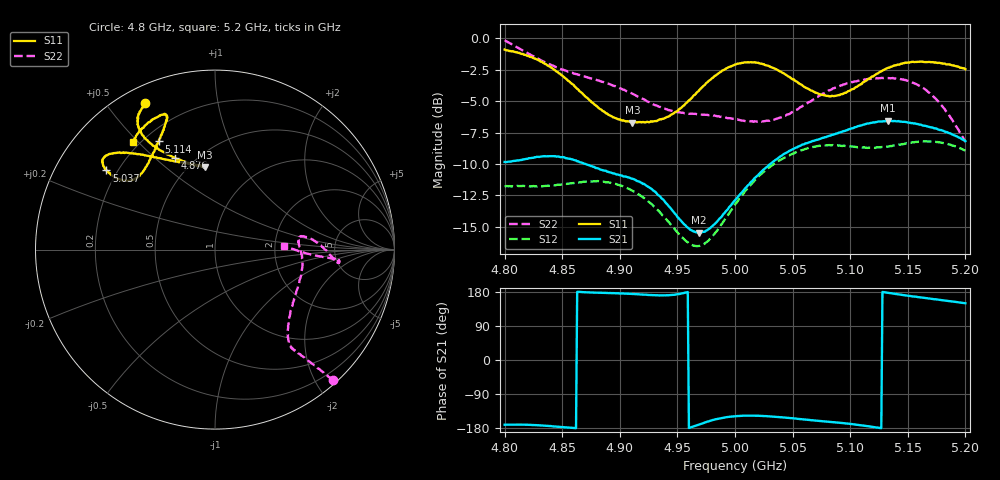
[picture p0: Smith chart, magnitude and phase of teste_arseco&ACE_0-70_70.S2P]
! Network Analyzer HP8722D
! Hewlett-Packard
! Data name: Linha & Wilkinson
! Saver's name: Rodrigo Anjos
! Comments: Teste da utilização de aquisição
! continua pelo VNA HP8722D
! Time and date: 8/5/2025 13:20
!  Frequency  S11  S21  S12  S22
# HZ  S  MA R 50
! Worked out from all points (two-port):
!   401 points, 4.8 GHz to 5.2 GHz, reference 50 ohm
!   highest |S21| = -6.55 dB at 5.133 GHz (marker M1); lowest = -15.5 dB at 4.969 GHz (marker M2)
!   |S21| within 3 dB of the highest: 4.821 GHz to 4.855 GHz (33.95 MHz wide, 0.702 % of centre); 5.037 GHz to end of sweep
!   lowest |S11| = -6.7 dB at 4.911 GHz (marker M3), VSWR 2.72, Z = 29.7 + j34.7 ohm
!   |S11| at or under -10 dB: nowhere
!   |S22| runs from -8.3 to -0.2 dB; largest |S21 - S12| = 0.83
!   S11 on the Smith chart (normalised r, x): 4.8 GHz: 0.07, +0.63; 4.876 GHz: 0.40, +0.58; 5.037 GHz: 0.16, +0.32; 5.114 GHz: 0.26, +0.58; 5.2 GHz: 0.17, +0.49
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4.8e9  0.9032 115.5  0.3221 -170.8  0.2579 -86.3  0.9815 -47.8
4.834e9  0.7975 122.1  0.3394 -173.2  0.2583 -77.3  0.8077 -50.0
4.85e9  0.7106 121.8  0.3367 -177.2  0.2622 -72.0  0.7515 -50.8
4.867e9  0.6072 117.5  0.3201 179.2  0.2678 -67.9  0.7105 -51.8
4.876e9  0.5549 113.5  0.3097 178.0  0.2691 -66.9  0.6917 -52.2
4.894e9  0.4855 103.8  0.2902 176.5  0.2651 -67.0  0.6488 -51.0
4.911e9  0.4621 96.8  0.2762 174.4  0.2475 -68.4  0.6019 -47.5
4.934e9  0.4741 99.6  0.2367 170.4  0.2056 -69.9  0.5344 -37.0
4.958e9  0.554 116.4  0.1778 178.7  0.1553 -58.9  0.5033 -21.2
4.969e9  0.6228 123.9  0.1684 -170.2  0.1492 -46.6  0.4994 -14.7
4.981e9  0.6985 130.1  0.18 -158.3  0.1641 -33.3  0.4927 -8.6
5e9  0.7865 137.1  0.2269 -148.5  0.2183 -21.6  0.4755 -0.2
5.018e9  0.8012 141.4  0.2802 -147.0  0.2747 -18.8  0.4674 5.8
5.037e9  0.7482 143.9  0.3325 -150.2  0.3234 -19.0  0.4805 8.8
5.067e9  0.6189 141.8  0.3901 -158.9  0.3695 -21.4  0.567 4.1
5.088e9  0.5916 132.7  0.4183 -164.8  0.3752 -24.6  0.639 -2.4
5.114e9  0.679 117.4  0.4568 -174.2  0.3669 -27.3  0.6867 -6.0
5.133e9  0.7642 110.9  0.4702 177.2  0.3713 -29.3  0.6951 -5.5
5.134e9  0.7647 110.6  0.4687 176.8  0.3717 -29.6  0.6953 -5.4
5.161e9  0.8084 111.9  0.4539 165.2  0.3885 -36.0  0.6448 -4.2
5.178e9  0.7982 118.0  0.4318 158.4  0.3857 -41.4  0.5497 -3.2
5.2e9  0.7545 127.1  0.3899 149.7  0.3577 -47.3  0.3868 3.3
